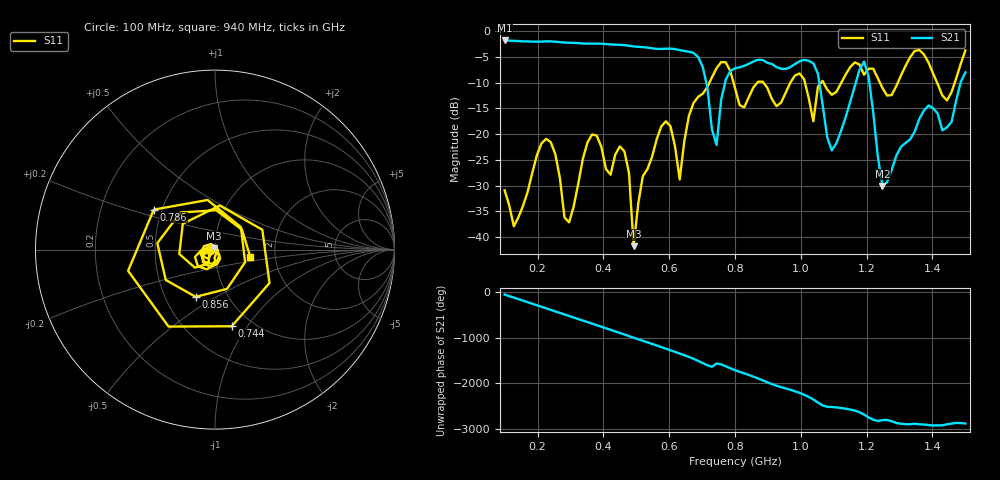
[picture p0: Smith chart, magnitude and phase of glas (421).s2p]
! NanoVNA-App
! Date: 2025-09-25 15:58:45
! Start: 100MHz Stop: 1,5GHz Points: 101
! S-Parameter data: F S11 S21 S12 S22
# Hz S RI R 50
!  Frequency  S11_Real  S11_Imag  S21_Real  S21_Imag  S12_Real  S12_Imag  S22_Real  S22_Imag
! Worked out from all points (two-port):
!   101 points, 100 MHz to 1.5 GHz, reference 50 ohm
!   highest |S21| = -1.80 dB at 100 MHz (marker M1); lowest = -30.1 dB at 1.248 GHz (marker M2)
!   |S21| within 3 dB of the highest: start of sweep to 684.3 MHz
!   lowest |S11| = -41.8 dB at 492 MHz (marker M3), VSWR 1.02, Z = 49.5 + j0.639 ohm
!   |S11| at or under -10 dB: start of sweep to 722.4 MHz; 795.4 MHz to 867.9 MHz (72.44 MHz wide, 8.71 % of centre); 886.3 MHz to 968.1 MHz (81.86 MHz wide, 8.83 % of centre) (the widest 3 of 7)
!   S12 and S22 are empty: the file has one direction only
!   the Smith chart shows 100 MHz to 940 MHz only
!   S11 on the Smith chart (normalised r, x): 100 MHz: 0.95, -0.01; 744 MHz: 0.81, -0.85; 786 MHz: 0.45, +0.24; 856 MHz: 0.71, -0.41; 940 MHz: 1.49, -0.14
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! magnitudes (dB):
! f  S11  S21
! 100 MHz  -30.9  -1.8
! 128 MHz  -37.9  -1.9
! 226 MHz  -20.9  -2.0
! 296 MHz  -37.2  -2.2
! 338 MHz  -24.7  -2.4
! 464 MHz  -23.4  -2.7
! 492 MHz  -41.8  -3.0
! 576 MHz  -18.5  -3.4
! 632 MHz  -28.8  -3.7
! 702 MHz  -12.1  -7.0
! 744 MHz  -7.2  -22.1
! 786 MHz  -7.8  -7.7
! 800 MHz  -11.1  -7.2
! 856 MHz  -10.9  -5.9
! 940 MHz  -13.9  -7.3
! 996 MHz  -8.2  -5.8
! 1.038 GHz  -17.5  -6.2
! 1.094 GHz  -12.4  -23.2
! 1.192 GHz  -8.5  -5.9
! 1.248 GHz  -11.0  -30.1
! 1.276 GHz  -12.4  -27.0
! 1.5 GHz  -3.7  -8.0
